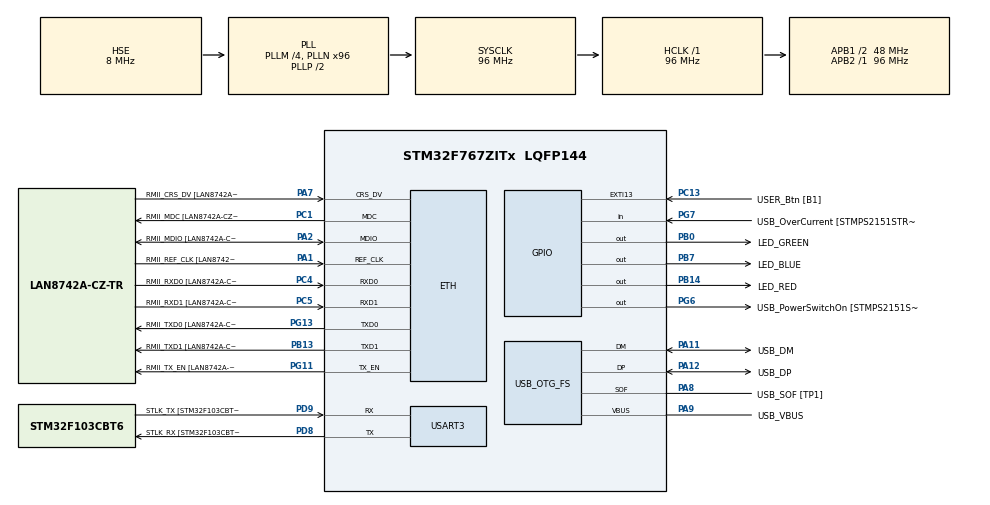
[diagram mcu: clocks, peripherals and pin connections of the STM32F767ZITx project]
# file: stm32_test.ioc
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ETH.MediaInterface=HAL_ETH_RMII_MODE
ETH.PHY_Name=LAN8742A_PHY_ADDRESS
ETH.PHY_Value=0
ETH.PhyAddress=0
Mcu.Family=STM32F7
Mcu.Name=STM32F767ZITx
Mcu.Package=LQFP144
NVIC.PriorityGroup=NVIC_PRIORITYGROUP_4
PA1.GPIO_Label=RMII_REF_CLK [LAN8742A-CZ-TR_REFCLK0]
PA1.Mode=RMII
PA1.Signal=ETH_REF_CLK
PA10.GPIO_Label=USB_ID
PA10.Signal=USB_OTG_FS_ID
PA11.GPIO_Label=USB_DM
PA11.Mode=Device_Only
PA11.Signal=USB_OTG_FS_DM
PA12.GPIO_Label=USB_DP
PA12.Mode=Device_Only
PA12.Signal=USB_OTG_FS_DP
PA13.Signal=SYS_JTMS-SWDIO
PA14.Signal=EVENTOUT
PA2.GPIO_Label=RMII_MDIO [LAN8742A-CZ-TR_MDIO]
PA2.Mode=RMII
PA2.Signal=ETH_MDIO
PA7.GPIO_Label=RMII_CRS_DV [LAN8742A-CZ-TR_CRS_DV]
PA7.Mode=RMII
PA7.Signal=ETH_CRS_DV
PA8.GPIO_Label=USB_SOF [TP1]
PA8.Mode=Activate_SOF_FS
PA8.Signal=USB_OTG_FS_SOF
PA9.GPIO_Label=USB_VBUS
PA9.Mode=Activate_VBUS
PA9.Signal=USB_OTG_FS_VBUS
PB0.GPIO_Label=LED_GREEN
PB0.Signal=GPIO_Output
PB13.GPIO_Label=RMII_TXD1 [LAN8742A-CZ-TR_TXD1]
PB13.Mode=RMII
PB13.Signal=ETH_TXD1
PB14.GPIO_Label=LED_RED
PB14.Signal=GPIO_Output
PB3.GPIO_Label=SWO
PB3.Signal=SYS_JTDO-SWO
PB7.GPIO_FM7=__NULL
PB7.GPIO_Label=LED_BLUE
PB7.GPIO_PuPd=GPIO_NOPULL
PB7.PinState=GPIO_PIN_RESET
PB7.Signal=GPIO_Output
PC1.GPIO_Label=RMII_MDC [LAN8742A-CZ-TR_MDC]
PC1.Mode=RMII
PC1.Signal=ETH_MDC
PC13.GPIO_Label=USER_Btn [B1]
PC13.Signal=GPXTI13
PC14/OSC32_IN.Mode=LSE-External-Oscillator
PC14/OSC32_IN.Signal=RCC_OSC32_IN
PC15/OSC32_OUT.Mode=LSE-External-Oscillator
PC15/OSC32_OUT.Signal=RCC_OSC32_OUT
PC4.GPIO_Label=RMII_RXD0 [LAN8742A-CZ-TR_RXD0]
PC4.Mode=RMII
PC4.Signal=ETH_RXD0
PC5.GPIO_Label=RMII_RXD1 [LAN8742A-CZ-TR_RXD1]
PC5.Mode=RMII
PC5.Signal=ETH_RXD1
PD8.GPIO_Label=STLK_RX [STM32F103CBT6_PA3]
PD8.Mode=Asynchronous
PD8.Signal=USART3_TX
PD9.GPIO_Label=STLK_TX [STM32F103CBT6_PA2]
PD9.Mode=Asynchronous
PD9.Signal=USART3_RX
PG11.GPIO_Label=RMII_TX_EN [LAN8742A-CZ-TR_TXEN]
PG11.Mode=RMII
PG11.Signal=ETH_TX_EN
PG13.GPIO_Label=RMII_TXD0 [LAN8742A-CZ-TR_TXD0]
PG13.Mode=RMII
PG13.Signal=ETH_TXD0
PG6.GPIO_Label=USB_PowerSwitchOn [STMPS2151STR_EN]
PG6.Signal=GPIO_Output
PG7.GPIO_Label=USB_OverCurrent [STMPS2151STR_FAULT]
PG7.Signal=GPIO_Input
PH0/OSC_IN.GPIO_Label=MCO [STM32F103CBT6_PA8]
PH0/OSC_IN.Mode=HSE-External-Clock-Source
PH0/OSC_IN.Signal=RCC_OSC_IN
PH1/OSC_OUT.Mode=HSE-External-Clock-Source
PH1/OSC_OUT.Signal=RCC_OSC_OUT
ProjectManager.HeapSize=0x200
ProjectManager.StackSize=0x400
ProjectManager.TargetToolchain=STM32CubeIDE
RCC.48MHZClocksFreq_Value=24000000
RCC.AHBFreq_Value=96000000
RCC.APB1CLKDivider=RCC_HCLK_DIV2
RCC.APB1Freq_Value=48000000
RCC.APB1TimFreq_Value=96000000
RCC.APB2Freq_Value=96000000
RCC.APB2TimFreq_Value=96000000
RCC.CortexFreq_Value=96000000
RCC.HCLKFreq_Value=96000000
RCC.HSE_VALUE=8000000
RCC.HSI_VALUE=16000000
RCC.PLLM=4
RCC.PLLMUL=RCC_PLL_MUL9
RCC.PLLN=96
RCC.PLLQ=4
RCC.PRESCALERUSB=RCC_USBCLKSOURCE_PLL_DIV1_5
RCC.SYSCLKFreq_VALUE=96000000
RCC.SYSCLKSource=RCC_SYSCLKSOURCE_PLLCLK
RCC.SYSCLKSourceVirtual=RCC_SYSCLKSOURCE_PLLCLK
RCC.USBFreq_Value=48000000
RCC.VCOOutputFreq_Value=192000000
USART3.VirtualMode-Asynchronous=VM_ASYNC
USB_OTG_FS.VirtualMode=Device_Only
board=NUCLEO-F767ZI

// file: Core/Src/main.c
/* USER CODE BEGIN Header */
/**
  ******************************************************************************
  * @file           : main.c
  * @brief          : Main program body
  ******************************************************************************
  * @attention
  *
  * Copyright (c) 2024 STMicroelectronics.
  * All rights reserved.
  *
  * This software is licensed under terms that can be found in the LICENSE file
  * in the root directory of this software component.
  * If no LICENSE file comes with this software, it is provided AS-IS.
  *
  ******************************************************************************
  */
/* USER CODE END Header */
#include "main.h"
#include "string.h"
#include <stdbool.h>

#if defined ( __ICCARM__ ) /*!< IAR Compiler */
#pragma location=0x2007c000
ETH_DMADescTypeDef  DMARxDscrTab[ETH_RX_DESC_CNT]; /* Ethernet Rx DMA Descriptors */
#pragma location=0x2007c0a0
ETH_DMADescTypeDef  DMATxDscrTab[ETH_TX_DESC_CNT]; /* Ethernet Tx DMA Descriptors */

#elif defined ( __CC_ARM )  /* MDK ARM Compiler */

__attribute__((at(0x2007c000))) ETH_DMADescTypeDef  DMARxDscrTab[ETH_RX_DESC_CNT]; /* Ethernet Rx DMA Descriptors */
__attribute__((at(0x2007c0a0))) ETH_DMADescTypeDef  DMATxDscrTab[ETH_TX_DESC_CNT]; /* Ethernet Tx DMA Descriptors */

#elif defined ( __GNUC__ ) /* GNU Compiler */
ETH_DMADescTypeDef DMARxDscrTab[ETH_RX_DESC_CNT] __attribute__((section(".RxDecripSection"))); /* Ethernet Rx DMA Descriptors */
ETH_DMADescTypeDef DMATxDscrTab[ETH_TX_DESC_CNT] __attribute__((section(".TxDecripSection")));   /* Ethernet Tx DMA Descriptors */

#endif

ETH_TxPacketConfig TxConfig;

ETH_HandleTypeDef heth;

UART_HandleTypeDef huart3;

PCD_HandleTypeDef hpcd_USB_OTG_FS;

void SystemClock_Config(void);
static void MX_GPIO_Init(void);
static void MX_ETH_Init(void);
static void MX_USART3_UART_Init(void);
static void MX_USB_OTG_FS_PCD_Init(void);

/* USER CODE BEGIN 0 */
void led_changer(unsigned short in, unsigned short int);
/* USER CODE END 0 */

int main(void)
{
  /* USER CODE BEGIN 1 */
  bool verse = true;
  unsigned short int i = 0;
  unsigned short int limits[2] = { 0, 3 };
  /* USER CODE END 1 */

  /* MCU Configuration--------------------------------------------------------*/

  /* Reset of all peripherals, Initializes the Flash interface and the Systick. */
  HAL_Init();

  /* Configure the system clock */
  SystemClock_Config();

  /* Initialize all configured peripherals */
  MX_GPIO_Init();
  MX_ETH_Init();
  MX_USART3_UART_Init();
  MX_USB_OTG_FS_PCD_Init();

  /* Infinite loop */
  while (1)
  {
	  led_changer(i, 300);
	  if (verse) i++;
	  if (!verse) i--;
	  if (i < limits[0] || i > limits[1])
	  {
		  if (i < limits[0]) i = (sizeof(limits) / sizeof(unsigned short int)) + 1;
		  if (i > limits[1]) i = (sizeof(limits) / sizeof(unsigned short int)) - 1;
		  verse = !verse;
	  }
  }
}

void SystemClock_Config(void)
{
  RCC_OscInitTypeDef RCC_OscInitStruct = {0};
  RCC_ClkInitTypeDef RCC_ClkInitStruct = {0};

  /** Configure LSE Drive Capability
  */
  HAL_PWR_EnableBkUpAccess();

  /** Configure the main internal regulator output voltage
  */
  __HAL_RCC_PWR_CLK_ENABLE();
  __HAL_PWR_VOLTAGESCALING_CONFIG(PWR_REGULATOR_VOLTAGE_SCALE3);

  /** Initializes the RCC Oscillators according to the specified parameters
  * in the RCC_OscInitTypeDef structure.
  */
  RCC_OscInitStruct.OscillatorType = RCC_OSCILLATORTYPE_HSE;
  RCC_OscInitStruct.HSEState = RCC_HSE_BYPASS;
  RCC_OscInitStruct.PLL.PLLState = RCC_PLL_ON;
  RCC_OscInitStruct.PLL.PLLSource = RCC_PLLSOURCE_HSE;
  RCC_OscInitStruct.PLL.PLLM = 4;
  RCC_OscInitStruct.PLL.PLLN = 96;
  RCC_OscInitStruct.PLL.PLLP = RCC_PLLP_DIV2;
  RCC_OscInitStruct.PLL.PLLQ = 4;
  RCC_OscInitStruct.PLL.PLLR = 2;
  if (HAL_RCC_OscConfig(&RCC_OscInitStruct) != HAL_OK)
  {
    Error_Handler();
  }

  /** Activate the Over-Drive mode
  */
  if (HAL_PWREx_EnableOverDrive() != HAL_OK)
  {
    Error_Handler();
  }

  /** Initializes the CPU, AHB and APB buses clocks
  */
  RCC_ClkInitStruct.ClockType = RCC_CLOCKTYPE_HCLK|RCC_CLOCKTYPE_SYSCLK
                              |RCC_CLOCKTYPE_PCLK1|RCC_CLOCKTYPE_PCLK2;
  RCC_ClkInitStruct.SYSCLKSource = RCC_SYSCLKSOURCE_PLLCLK;
  RCC_ClkInitStruct.AHBCLKDivider = RCC_SYSCLK_DIV1;
  RCC_ClkInitStruct.APB1CLKDivider = RCC_HCLK_DIV2;
  RCC_ClkInitStruct.APB2CLKDivider = RCC_HCLK_DIV1;

  if (HAL_RCC_ClockConfig(&RCC_ClkInitStruct, FLASH_LATENCY_3) != HAL_OK)
  {
    Error_Handler();
  }
}

static void MX_ETH_Init(void)
{

   static uint8_t MACAddr[6];

  heth.Instance = ETH;
  MACAddr[0] = 0x00;
  MACAddr[1] = 0x80;
  MACAddr[2] = 0xE1;
  MACAddr[3] = 0x00;
  MACAddr[4] = 0x00;
  MACAddr[5] = 0x00;
  heth.Init.MACAddr = &MACAddr[0];
  heth.Init.MediaInterface = HAL_ETH_RMII_MODE;
  heth.Init.TxDesc = DMATxDscrTab;
  heth.Init.RxDesc = DMARxDscrTab;
  heth.Init.RxBuffLen = 1524;

  if (HAL_ETH_Init(&heth) != HAL_OK)
  {
    Error_Handler();
  }

  memset(&TxConfig, 0 , sizeof(ETH_TxPacketConfig));
  TxConfig.Attributes = ETH_TX_PACKETS_FEATURES_CSUM | ETH_TX_PACKETS_FEATURES_CRCPAD;
  TxConfig.ChecksumCtrl = ETH_CHECKSUM_IPHDR_PAYLOAD_INSERT_PHDR_CALC;
  TxConfig.CRCPadCtrl = ETH_CRC_PAD_INSERT;

}

static void MX_USART3_UART_Init(void)
{

  huart3.Instance = USART3;
  huart3.Init.BaudRate = 115200;
  huart3.Init.WordLength = UART_WORDLENGTH_8B;
  huart3.Init.StopBits = UART_STOPBITS_1;
  huart3.Init.Parity = UART_PARITY_NONE;
  huart3.Init.Mode = UART_MODE_TX_RX;
  huart3.Init.HwFlowCtl = UART_HWCONTROL_NONE;
  huart3.Init.OverSampling = UART_OVERSAMPLING_16;
  huart3.Init.OneBitSampling = UART_ONE_BIT_SAMPLE_DISABLE;
  huart3.AdvancedInit.AdvFeatureInit = UART_ADVFEATURE_NO_INIT;
  if (HAL_UART_Init(&huart3) != HAL_OK)
  {
    Error_Handler();
  }

}

static void MX_USB_OTG_FS_PCD_Init(void)
{

  hpcd_USB_OTG_FS.Instance = USB_OTG_FS;
  hpcd_USB_OTG_FS.Init.dev_endpoints = 6;
  hpcd_USB_OTG_FS.Init.speed = PCD_SPEED_FULL;
  hpcd_USB_OTG_FS.Init.dma_enable = DISABLE;
  hpcd_USB_OTG_FS.Init.phy_itface = PCD_PHY_EMBEDDED;
  hpcd_USB_OTG_FS.Init.Sof_enable = ENABLE;
  hpcd_USB_OTG_FS.Init.low_power_enable = DISABLE;
  hpcd_USB_OTG_FS.Init.lpm_enable = DISABLE;
  hpcd_USB_OTG_FS.Init.vbus_sensing_enable = ENABLE;
  hpcd_USB_OTG_FS.Init.use_dedicated_ep1 = DISABLE;
  if (HAL_PCD_Init(&hpcd_USB_OTG_FS) != HAL_OK)
  {
    Error_Handler();
  }

}

static void MX_GPIO_Init(void)
{
  GPIO_InitTypeDef GPIO_InitStruct = {0};

  /* GPIO Ports Clock Enable */
  __HAL_RCC_GPIOC_CLK_ENABLE();
  __HAL_RCC_GPIOH_CLK_ENABLE();
  __HAL_RCC_GPIOA_CLK_ENABLE();
  __HAL_RCC_GPIOB_CLK_ENABLE();
  __HAL_RCC_GPIOD_CLK_ENABLE();
  __HAL_RCC_GPIOG_CLK_ENABLE();

  /*Configure GPIO pin Output Level */
  HAL_GPIO_WritePin(GPIOB, LED_GREEN_Pin|LED_RED_Pin|LED_BLUE_Pin, GPIO_PIN_RESET);

  /*Configure GPIO pin Output Level */
  HAL_GPIO_WritePin(USB_PowerSwitchOn_GPIO_Port, USB_PowerSwitchOn_Pin, GPIO_PIN_RESET);

  /*Configure GPIO pin : USER_Btn_Pin */
  GPIO_InitStruct.Pin = USER_Btn_Pin;
  GPIO_InitStruct.Mode = GPIO_MODE_IT_RISING;
  GPIO_InitStruct.Pull = GPIO_NOPULL;
  HAL_GPIO_Init(USER_Btn_GPIO_Port, &GPIO_InitStruct);

  /*Configure GPIO pins : LED_GREEN_Pin LED_RED_Pin LED_BLUE_Pin */
  GPIO_InitStruct.Pin = LED_GREEN_Pin|LED_RED_Pin|LED_BLUE_Pin;
  GPIO_InitStruct.Mode = GPIO_MODE_OUTPUT_PP;
  GPIO_InitStruct.Pull = GPIO_NOPULL;
  GPIO_InitStruct.Speed = GPIO_SPEED_FREQ_LOW;
  HAL_GPIO_Init(GPIOB, &GPIO_InitStruct);

  /*Configure GPIO pin : USB_PowerSwitchOn_Pin */
  GPIO_InitStruct.Pin = USB_PowerSwitchOn_Pin;
  GPIO_InitStruct.Mode = GPIO_MODE_OUTPUT_PP;
  GPIO_InitStruct.Pull = GPIO_NOPULL;
  GPIO_InitStruct.Speed = GPIO_SPEED_FREQ_LOW;
  HAL_GPIO_Init(USB_PowerSwitchOn_GPIO_Port, &GPIO_InitStruct);

  /*Configure GPIO pin : USB_OverCurrent_Pin */
  GPIO_InitStruct.Pin = USB_OverCurrent_Pin;
  GPIO_InitStruct.Mode = GPIO_MODE_INPUT;
  GPIO_InitStruct.Pull = GPIO_NOPULL;
  HAL_GPIO_Init(USB_OverCurrent_GPIO_Port, &GPIO_InitStruct);

  /*Configure GPIO pin : PA14 */
  GPIO_InitStruct.Pin = GPIO_PIN_14;
  GPIO_InitStruct.Mode = GPIO_MODE_AF_PP;
  GPIO_InitStruct.Pull = GPIO_NOPULL;
  GPIO_InitStruct.Speed = GPIO_SPEED_FREQ_LOW;
  GPIO_InitStruct.Alternate = GPIO_AF15_EVENTOUT;
  HAL_GPIO_Init(GPIOA, &GPIO_InitStruct);

}

/* USER CODE BEGIN 4 */
void led_changer(unsigned short int addr, unsigned short int del)
{
	switch (addr)
	{
	case 0:
		HAL_GPIO_TogglePin(LED_GREEN_GPIO_Port, LED_GREEN_Pin);
		HAL_Delay(del);
		HAL_GPIO_TogglePin(LED_GREEN_GPIO_Port, LED_GREEN_Pin);
		HAL_Delay(del);
		break;
	case 1:
		HAL_GPIO_TogglePin(LED_BLUE_GPIO_Port, LED_BLUE_Pin);
		HAL_Delay(del);
		HAL_GPIO_TogglePin(LED_BLUE_GPIO_Port, LED_BLUE_Pin);
		HAL_Delay(del);
		break;
	case 2:
		HAL_GPIO_TogglePin(LED_RED_GPIO_Port, LED_RED_Pin);
		HAL_Delay(del);
		HAL_GPIO_TogglePin(LED_RED_GPIO_Port, LED_RED_Pin);
		HAL_Delay(del);
		break;
	}
}
/* USER CODE END 4 */

void Error_Handler(void)
{
  __disable_irq();
  while (1)
  {
  }
}
